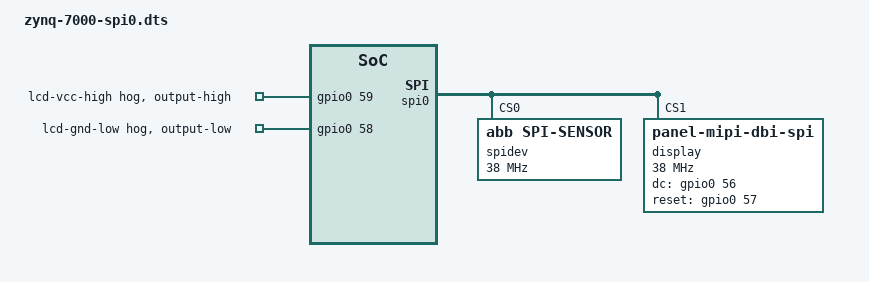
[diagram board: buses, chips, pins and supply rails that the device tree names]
/dts-v1/;
/plugin/;

&gpio0 {
    status = "okay";
    lcd_power {
        gpio-hog;
        gpios = <59 0>;
        output-high;
    	line-name = "lcd-vcc-high";
    };

    lcd_groud {
        gpio-hog;
        gpios = <58 0>;
        output-low;
        line-name = "lcd-gnd-low";
    };
};

&dmac_s {
    status = "okay";
};

&spi0 {
    status = "okay";
    num-cs = <3>;
    #address-cells = <1>;
    #size-cells = <0>;
    dmas = <&dmac_s 0>, <&dmac_s 1>;
    dma-names = "tx", "rx";
    spidev@0 {
        compatible = "abb,spi-sensor";          /* 关键！使用通用驱动 */
        reg = <0>;
        spi-max-frequency = <38000000>;
    };
    display@1 {
        compatible = "panel-mipi-dbi-spi";
        reg = <1>;
        spi-max-frequency = <38000000>;
        dc-gpios = <&gpio0 56 0>;
        reset-gpios = <&gpio0 57 0>;
            width-mm = <61>;
            height-mm = <103>;	
            panel-timing {
                clock-frequency = <30000000>;
                hactive = <240>;           /* hdisplay */
                hfront-porch = <0>;      // hsync_start - hdisplay = 278 - 240
                hsync-len = <0>;         // hsync_end - hsync_start = 288 - 278
                hback-porch = <0>;             // htotal - hsync_end
                
                vactive = <280>;           /* vdisplay */
                vfront-porch = <0>;       // vsync_start - vdisplay = 328 - 320
                vsync-len = <0>;          // vsync_end - vsync_start = 332 - 328
                vback-porch = <20>;              // vtotal - vsync_end
        };	
    };
};
